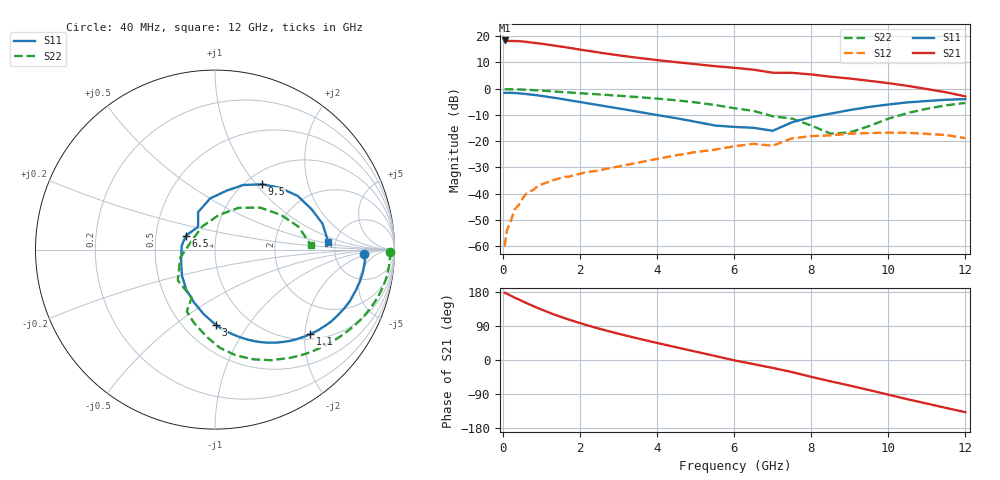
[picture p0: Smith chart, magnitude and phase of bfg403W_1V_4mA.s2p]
! Filename: 14bfg403.001
!BFG403W Field A1
! V1=8.939E-001V,V2=1.000E+000V, I1=6.411E-005A, I2=4.010E-003A
# GHz  S  MA  R 50
!  S11  S21  S12  S22
!Freq(GHz)  Mag  Ang  Mag  Ang  Mag  Ang  Mag  Ang
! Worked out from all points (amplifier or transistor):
!   44 points, 40 MHz to 12 GHz, reference 50 ohm
!   highest |S21| = 18.4 dB at 40 MHz (marker M1)
!   |S21| within 3 dB of that: start of sweep to 1.799 GHz
!   unconditionally stable (mu >= 1): start of sweep to 49.47 MHz; 2.004 GHz to end of sweep
!   at 700 MHz: K = 0.40, MSG = 28.4 dB, |S12| = -39.2 dB
!   at 2.4 GHz: K = 1.19, MAG = 20.0 dB, |S12| = -31.4 dB
!   at 12 GHz: K = 2.78, MAG = 0.7 dB, |S12| = -18.9 dB
!   S11 on the Smith chart (normalised r, x): 40 MHz: 11, -2; 1.1 GHz: 1.12, -2.13; 3 GHz: 0.71, -0.72; 6.5 GHz: 0.71, +0.11; 9.5 GHz: 1.18, +1.08; 12 GHz: 4.36, +0.59
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0.04  0.832 -1.8  8.298 177.4  0.001 65.2  0.976 -0.6
0.1  0.838 -4.2  8.156 174.9  0.002 91.1  0.977 -2.1
0.3  0.827 -12.3  8.081 164.7  0.005 81.5  0.972 -7.0
0.4  0.818 -15.7  8.042 160.1  0.006 79.5  0.968 -9.3
0.6  0.792 -24.2  7.806 150.6  0.01 73.7  0.954 -13.8
0.9  0.745 -34.9  7.339 137.2  0.014 67.9  0.928 -20.2
1.1  0.71 -41.5  7.013 129.0  0.016 64.5  0.909 -24.1
1.3  0.675 -47.7  6.66 121.0  0.018 61.7  0.888 -27.9
1.6  0.623 -56.2  6.195 110.4  0.021 58.5  0.859 -33.1
2.2  0.526 -71.3  5.272 91.2  0.026 54.5  0.803 -42.9
2.6  0.47 -80.4  4.76 79.8  0.029 53.2  0.769 -49.1
3  0.421 -89.2  4.322 69.2  0.033 51.8  0.734 -55.2
3.5  0.364 -100.2  3.876 56.8  0.039 49.8  0.692 -62.9
4.5  0.274 -125.8  3.2 33.4  0.054 42.4  0.601 -78.8
5.5  0.199 -161.7  2.685 10.7  0.069 30.7  0.489 -95.3
6.5  0.18 154.3  2.304 -10.7  0.089 19.3  0.378 -114.5
7  0.158 126.5  2.014 -20.9  0.082 17.0  0.298 -115.9
8  0.287 95.3  1.868 -44.5  0.125 -6.7  0.199 -166.8
8.5  0.335 78.8  1.692 -56.3  0.129 -17.6  0.139 159.1
9.5  0.449 54.1  1.414 -79.3  0.143 -40.2  0.194 83.7
10.5  0.549 33.1  1.132 -103.6  0.145 -65.3  0.344 42.8
12  0.633 3.7  0.713 -137.7  0.114 -107.9  0.535 2.7
